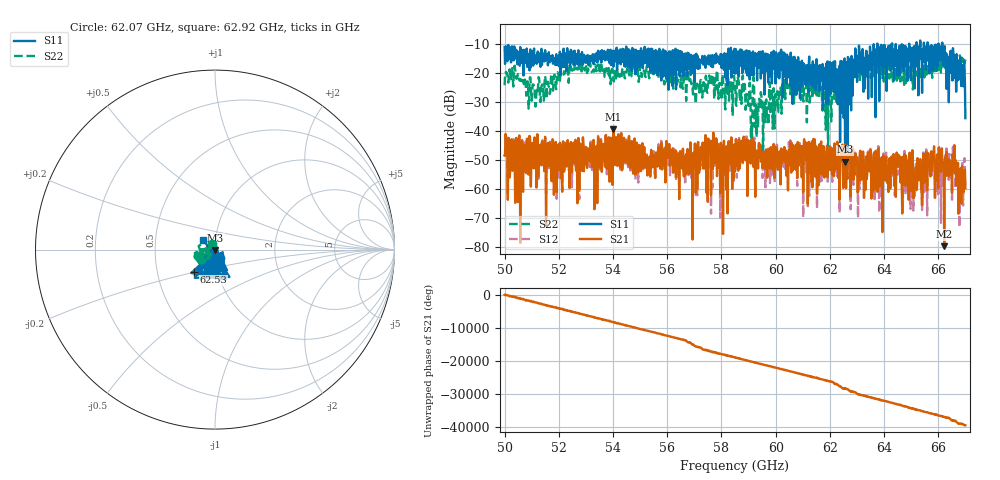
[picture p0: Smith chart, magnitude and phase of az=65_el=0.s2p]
!Created with skrf (http://scikit-rf.org).
# GHz S RI R 50.0
!freq ReS11 ImS11 ReS21 ImS21 ReS12 ImS12 ReS22 ImS22
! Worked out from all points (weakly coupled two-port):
!   1001 points, 50 GHz to 67 GHz, reference 50 ohm
!   highest |S21| = -39.49 dB at 54.01 GHz (marker M1); lowest = -79.6 dB at 66.22 GHz (marker M2)
!   lowest |S11| = -50.6 dB at 62.56 GHz (marker M3), VSWR 1.01, Z = 50.1 - j0.272 ohm
!   |S11| at or under -10 dB: start of sweep to 64.3 GHz; 64.3 GHz to 65.2 GHz (899 MHz wide, 1.39 % of centre); 66.15 GHz to end of sweep (the widest 3 of 7)
!   |S22| runs from -49.5 to -14.1 dB; largest |S21 - S12| = 0.0021
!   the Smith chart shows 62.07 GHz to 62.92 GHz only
!   S11 on the Smith chart (normalised r, x): 62.07 GHz: 1.05, -0.10; 62.53 GHz: 0.77, -0.20; 62.92 GHz: 0.87, +0.10
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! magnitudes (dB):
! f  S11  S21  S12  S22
! 50 GHz  -11.2  -48.5  -48.8  -24.3
! 51.07 GHz  -13.2  -52.9  -52.3  -24.2
! 52.84 GHz  -14.7  -45.5  -44.5  -19.6
! 54.01 GHz  -18.0  -39.5  -39.8  -22.0
! 55.68 GHz  -14.5  -45.5  -44.5  -22.1
! 56.85 GHz  -15.1  -44.0  -45.2  -22.3
! 57.73 GHz  -15.2  -51.3  -52.1  -29.1
! 58.14 GHz  -21.6  -46.5  -47.2  -32.6
! 58.5 GHz  -20.3  -54.1  -51.0  -24.7
! 59.62 GHz  -13.5  -52.1  -59.4  -37.0
! 60.32 GHz  -21.3  -45.6  -46.4  -22.6
! 61.34 GHz  -24.1  -43.6  -44.0  -25.3
! 62.07 GHz  -25.4  -52.2  -51.4  -29.2
! 62.53 GHz  -15.4  -58.0  -59.3  -19.1
! 62.56 GHz  -50.6  -44.7  -45.8  -19.9
! 62.92 GHz  -21.3  -52.1  -53.3  -19.5
! 64.18 GHz  -17.6  -50.2  -51.8  -18.4
! 65.33 GHz  -8.9  -49.7  -50.9  -19.0
! 65.78 GHz  -11.1  -48.8  -49.6  -21.8
! 66.22 GHz  -14.7  -79.6  -57.9  -14.4
! 66.9 GHz  -17.5  -59.1  -59.9  -15.2
! 67 GHz  -35.7  -59.7  -58.7  -15.5
